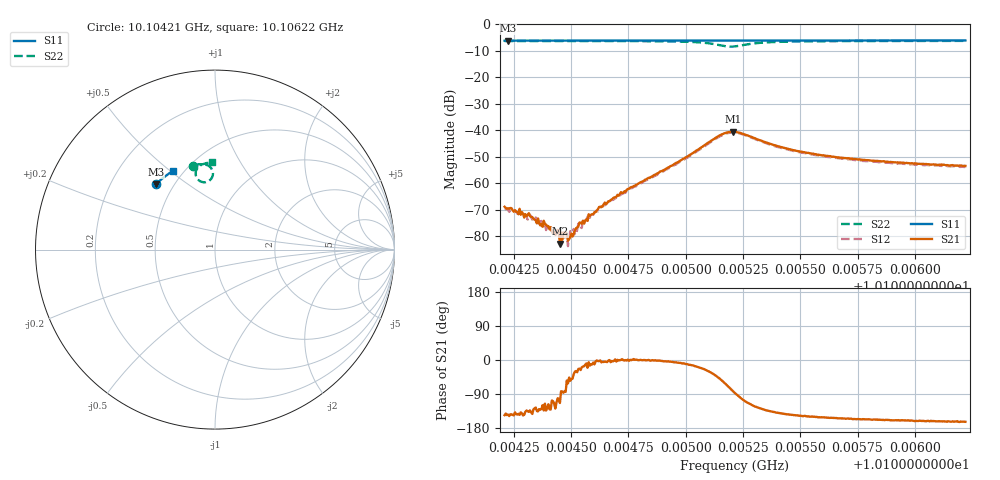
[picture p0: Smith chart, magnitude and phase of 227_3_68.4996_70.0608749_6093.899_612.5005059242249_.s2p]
#  HZ  S  RI  R  50.00
! Rohde & Schwarz Vector Network Analyzer
! Rohde-Schwarz,ZNB20-2Port,1311601062101988,3.16
! Created: UTC 3/20/2024, 5:13:54 PM
! freq[Hz]  re:S11  im:S11  re:S21  im:S21  re:S12  im:S12  re:S22  im:S22
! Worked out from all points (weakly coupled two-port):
!   401 points, 10.10421 GHz to 10.10622 GHz, reference 50 ohm
!   highest |S21| = -40.59 dB at 10.10521 GHz (marker M1); lowest = -82.9 dB at 10.10445 GHz (marker M2)
!   lowest |S11| = -6.2 dB at 10.10423 GHz (marker M3), VSWR 2.93, Z = 20 + j19.2 ohm
!   |S11| at or under -10 dB: nowhere
!   |S22| runs from -8.4 to -6.2 dB; largest |S21 - S12| = 0.001
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1.0104211e10  -0.3302 0.364  -0.000295 -0.000203  -0.000252 -0.000193  -0.1237 0.4675
1.0104226e10  -0.3293 0.3646  -0.000271 -0.000195  -0.000232 -0.000207  -0.1225 0.4678
1.0104326e10  -0.325 0.3689  -0.00017 -0.000155  -0.000145 -0.000176  -0.1152 0.4698
1.0104366e10  -0.3233 0.3706  -0.000105 -0.00012  -8.56e-05 -0.000158  -0.1122 0.4706
1.0104392e10  -0.3221 0.3717  -0.000113 -0.000119  -6.51e-05 -0.000112  -0.1104 0.4711
1.0104427e10  -0.3206 0.3732  -4.83e-05 -0.000107  -3.33e-05 -9.63e-05  -0.1076 0.4717
1.0104452e10  -0.3194 0.3741  -2.86e-05 -6.58e-05  5.09e-06 -0.000125  -0.1056 0.4721
1.0104482e10  -0.318 0.3754  6.46e-05 -8.96e-05  5.21e-05 -8.01e-05  -0.1032 0.4726
1.0104502e10  -0.3171 0.3762  7.07e-05 -8.62e-05  9.65e-05 -6.86e-05  -0.1016 0.473
1.0104517e10  -0.3166 0.3769  0.000109 -6.51e-05  7.8e-05 -7.55e-05  -0.1003 0.4732
1.0104547e10  -0.3151 0.3781  0.000161 -5.62e-05  0.000134 -4.69e-05  -0.0976 0.4737
1.0104562e10  -0.3143 0.3786  0.000192 -4.27e-05  0.000198 -2.3e-05  -0.0963 0.474
1.0104587e10  -0.3132 0.3798  0.000248 -5.04e-05  0.000267 -1.63e-05  -0.0942 0.4742
1.0104668e10  -0.3096 0.383  0.000454 -5.39e-07  0.000454 4.04e-05  -0.0867 0.4755
1.0104884e10  -0.2996 0.3916  0.00158 -4.42e-05  0.0015 7.97e-05  -0.0608 0.4757
1.010515e10  -0.2866 0.4015  0.0052 -0.00614  0.0055 -0.00538  -0.0159 0.4029
1.0105205e10  -0.2842 0.4031  0.00137 -0.00924  0.00223 -0.00875  -0.0613 0.3752
1.0105216e10  -0.2837 0.4034  0.000415 -0.00928  0.00128 -0.00889  -0.0716 0.3766
1.0105401e10  -0.2752 0.4106  -0.0038 -0.00328  -0.00337 -0.00344  -0.0961 0.4563
1.0105552e10  -0.2678 0.416  -0.0031 -0.00185  -0.00283 -0.00201  -0.0757 0.4725
1.0105889e10  -0.2509 0.4274  -0.00233 -0.000924  -0.00218 -0.00109  -0.0437 0.4829
1.010622e10  -0.2335 0.4379  -0.00202 -0.000615  -0.00189 -0.000755  -0.0185 0.4867
